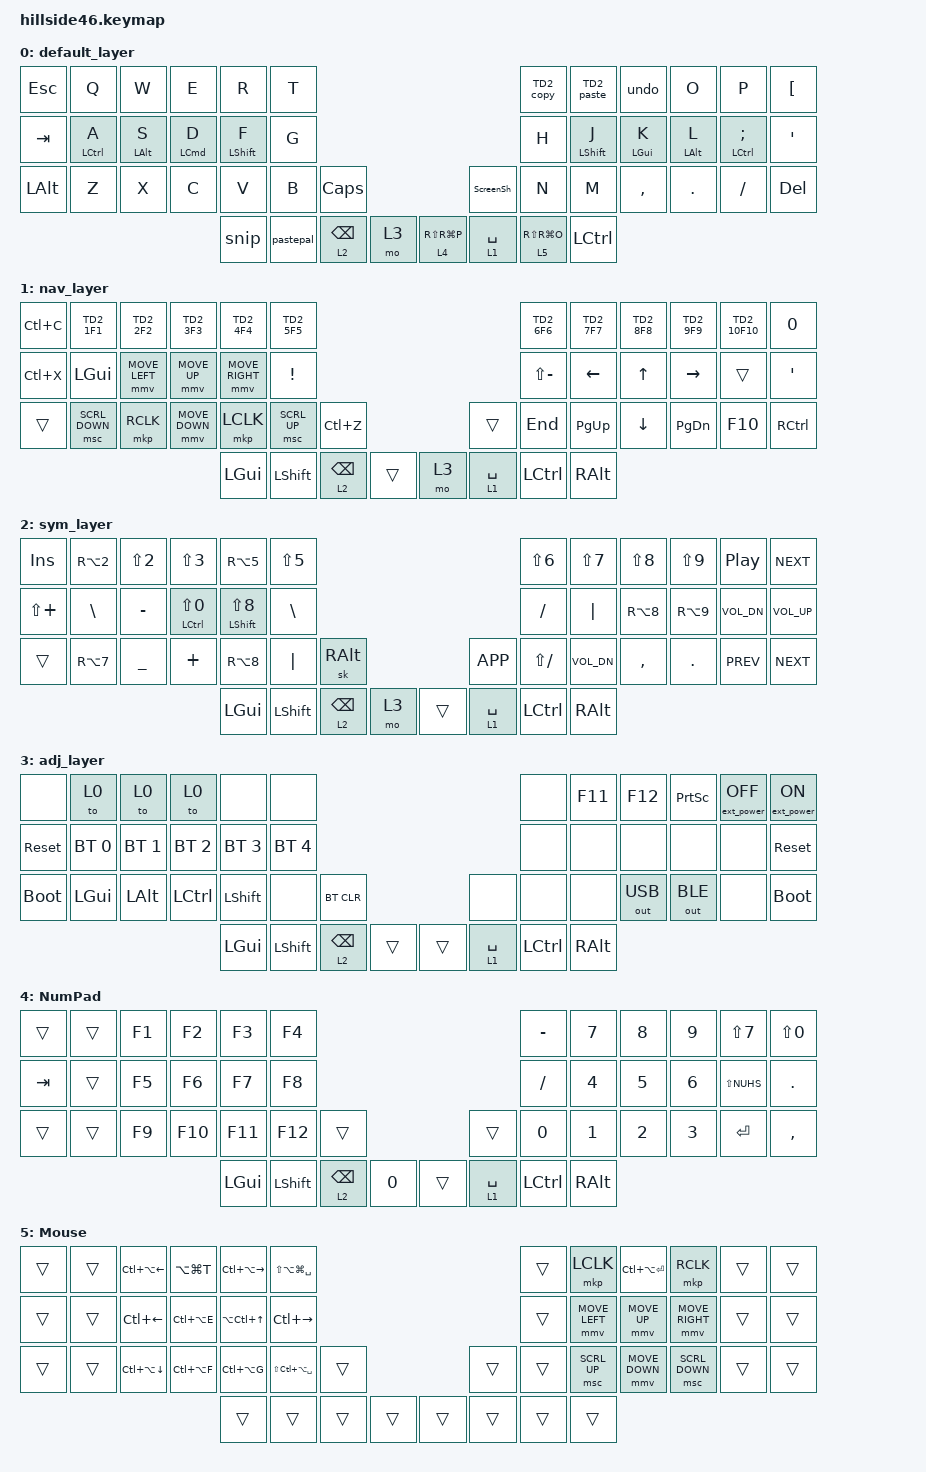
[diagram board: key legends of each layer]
/*
 * Copyright (c) 2021-2022 The ZMK Contributors
 * SPDX-License-Identifier: MIT
 */

#include "keymap_KP_swe.h"
#include <behaviors.dtsi>
#include <dt-bindings/zmk/bt.h>
#include <dt-bindings/zmk/ext_power.h>
#include <dt-bindings/zmk/keys.h>
#include <dt-bindings/zmk/outputs.h>
#include <dt-bindings/zmk/pointing.h>

#define QWERTY_L 0
#define DVORAK_L 1
#define COLEMK_L 2
#define NAV_L    3
#define SYM_L    4
#define ADJ_L    5
#define SWE_L    6
#define Undo   LC(Z)
#define Cut    LC(X)
#define Copy   LC(C)
#define Paste  LC(V)
#define Redo   LC(Y)

/ {
    combos {
        compatible = "zmk,combos";

        enter {
            bindings = <&kp ENTER>;
            key-positions = <16 19>;
        };

        backspace {
            bindings = <&kp LC(BACKSPACE)>;
            key-positions = <20 15>;
        };

        swe {
            bindings = <&tog 0>;
            key-positions = <41 42>;
        };

        LEFTSHIFT {
            bindings = <&kp BACKSPACE>;
            key-positions = <43 19>;
        };

        sapexecute {
            bindings = <&kp F8>;
            key-positions = <43 23>;
        };

        sapbak {
            bindings = <&kp F3>;
            key-positions = <43 22>;
        };

        PekEnter {
            bindings = <&kp ENTER>;
            key-positions = <19 20>;
        };

        RingBackspace {
            bindings = <&kp LG(BACKSPACE)>;
            key-positions = <20 21>;
        };

        apostrof {
            bindings = <&kp BACKSLASH>;
            key-positions = <6 7>;
        };

        skriv_aa {
            bindings = <&kp LEFT_BRACKET>;
            key-positions = <11 23>;
        };

        search {
            bindings = <&kp LA(SPACE)>;
            key-positions = <34 35>;
        };

        oo {
            bindings = <&kp SEMI>;
            key-positions = <7 19>;
        };

        aoo {
            bindings = <&kp SQT>;
            key-positions = <8 20>;
        };

        ao {
            bindings = <&kp LBKT>;
            key-positions = <9 21>;
        };

        LikaMed {
            bindings = <&kp LS(N0)>;
            key-positions = <7 8>;
        };

        minus {
            bindings = <&kp SLASH>;
            key-positions = <18 19>;
        };

        plus {
            bindings = <&kp MINUS>;
            key-positions = <33 32>;
        };

        Whisper {
            bindings = <&kp LG(NON_US_BACKSLASH)>;
            key-positions = <5 4>;
        };

        pasteCom {
            bindings = <&kp LG(V)>;
            key-positions = <16 17>;
        };

        copyCom {
            bindings = <&kp LG(V)>;
            key-positions = <16 15>;
        };

        leftClick5 {
            bindings = <&mkp LCLK>;
            key-positions = <18 19>;
            layers = <5>;
        };
    };

    behaviors {
        hm: homerow_mods {
            compatible = "zmk,behavior-hold-tap";
            label = "HOMEROW_MODS";
            #binding-cells = <2>;
            tapping-term-ms = <200>;
            quick-tap-ms = <0>;
            flavor = "tap-preferred";
            bindings = <&kp>, <&kp>;

            require-prior-idle-ms = <100>;
        };

        punkt: punkt {
            compatible = "zmk,behavior-tap-dance";
            label = "PUNKT";
            #binding-cells = <0>;
            bindings = <&kp J>, <&punktSpace>;

            tapping-term-ms = <250>;
        };

        komma: komma {
            compatible = "zmk,behavior-tap-dance";
            label = "KOMMA";
            #binding-cells = <0>;
            bindings = <&kp K>, <&kommaspace>;

            tapping-term-ms = <300>;
        };

        ao: ao {
            compatible = "zmk,behavior-tap-dance";
            label = "AO";
            #binding-cells = <0>;
            bindings = <&kp L>, <&kp LBKT>;

            tapping-term-ms = <200>;
        };

        TD2_paste: TD2_paste {
            compatible = "zmk,behavior-tap-dance";
            label = "TD2_PASTE";
            #binding-cells = <0>;
            bindings = <&kp U>, <&kp LG(V)>;

            tapping-term-ms = <300>;
        };

        TD2_copy: TD2_copy {
            compatible = "zmk,behavior-tap-dance";
            label = "TD2_COPY";
            #binding-cells = <0>;
            bindings = <&kp Y>, <&kp LG(C)>;

            tapping-term-ms = <300>;
        };

        TD2_1F1: TD2_1F1 {
            compatible = "zmk,behavior-tap-dance";
            label = "TD2_1F1";
            #binding-cells = <0>;
            bindings = <&kp NUMBER_1>, <&kp F1>;

            tapping-term-ms = <200>;
        };

        TD2_2F2: TD2_2F2 {
            compatible = "zmk,behavior-tap-dance";
            label = "TD2_2F2";
            #binding-cells = <0>;
            bindings = <&kp NUMBER_2>, <&kp F2>;

            tapping-term-ms = <200>;
        };

        TD2_3F3: TD2_3F3 {
            compatible = "zmk,behavior-tap-dance";
            label = "TD2_3F3";
            #binding-cells = <0>;
            bindings = <&kp NUMBER_3>, <&kp F3>;

            tapping-term-ms = <200>;
        };

        TD2_4F4: TD2_4F4 {
            compatible = "zmk,behavior-tap-dance";
            label = "TD2_4F4";
            #binding-cells = <0>;
            bindings = <&kp NUMBER_4>, <&kp F4>;

            tapping-term-ms = <200>;
        };

        TD2_5F5: TD2_5F5 {
            compatible = "zmk,behavior-tap-dance";
            label = "TD2_5F5";
            #binding-cells = <0>;
            bindings = <&kp NUMBER_5>, <&kp F5>;

            tapping-term-ms = <200>;
        };

        TD2_6F6: TD2_6F6 {
            compatible = "zmk,behavior-tap-dance";
            label = "TD2_6F6";
            #binding-cells = <0>;
            bindings = <&kp NUMBER_6>, <&kp F6>;

            tapping-term-ms = <200>;
        };

        TD2_7F7: TD2_7F7 {
            compatible = "zmk,behavior-tap-dance";
            label = "TD2_7F7";
            #binding-cells = <0>;
            bindings = <&kp NUMBER_7>, <&kp F7>;

            tapping-term-ms = <200>;
        };

        TD2_8F8: TD2_8F8 {
            compatible = "zmk,behavior-tap-dance";
            label = "TD2_8F8";
            #binding-cells = <0>;
            bindings = <&kp NUMBER_8>, <&kp F8>;

            tapping-term-ms = <200>;
        };

        TD2_9F9: TD2_9F9 {
            compatible = "zmk,behavior-tap-dance";
            label = "TD2_9F9";
            #binding-cells = <0>;
            bindings = <&kp NUMBER_9>, <&kp F9>;

            tapping-term-ms = <200>;
        };

        TD2_10F10: TD2_10F10 {
            compatible = "zmk,behavior-tap-dance";
            label = "TD2_10F10";
            #binding-cells = <0>;
            bindings = <&kp NUMBER_0>, <&kp F10>;

            tapping-term-ms = <200>;
        };

        undo: undo {
            compatible = "zmk,behavior-tap-dance";
            label = "UNDO";
            #binding-cells = <0>;
            bindings = <&kp I>, <&kp LG(Z)>;

            tapping-term-ms = <250>;
        };

        ScreenSh: ScreenSh {
            compatible = "zmk,behavior-tap-dance";
            label = "SCREENSH";
            #binding-cells = <0>;
            bindings = <&kp RS(RG(P))>, <&kp RS(RG(O))>;
        };
    };

    macros {
        copy: copy {
            compatible = "zmk,behavior-macro";
            #binding-cells = <0>;
            bindings = <&kp LC(C)>, <&macro_press>;

            label = "COPY";
        };

        punktSpace: punktSpace {
            compatible = "zmk,behavior-macro";
            #binding-cells = <0>;
            bindings = <&kp PERIOD &kp SPACE>;
            label = "PUNKTSPACE";
        };

        kommaspace: kommaspace {
            compatible = "zmk,behavior-macro";
            #binding-cells = <0>;
            bindings = <&kp COMMA &kp SPACE>;
            label = "KOMMASPACE";
        };

        pastepal: pastepal {
            compatible = "zmk,behavior-macro";
            #binding-cells = <0>;
            bindings = <&macro_tap>, <&kp LEFT_GUI &kp LEFT_GUI>;

            label = "PASTEPAL";
        };

        snip: snip {
            compatible = "zmk,behavior-macro";
            #binding-cells = <0>;
            bindings = <&kp LEFT_ALT &kp LEFT_ALT>, <&macro_tap>;

            label = "SNIP";
        };
    };

    keymap {
        compatible = "zmk,keymap";

        default_layer {
            /* QWERTY
 * -------------------------------------------------------------------------------------------------------------------------------------
 * | `     |   Q   |   W   |   E   |   R   |   T   |-----------------------------------|   Y   |   U   |   I   |   O   |   P   | BKSPC |
 * | TAB   |   A   |   S   |   D   |   F   |   G   |-----------------------------------|   H   |   J   |   K   |   L   |   ;   | ENTER |
 * | CTRL  |   Z   |   X   |   C   |   V   |   B   |  ESC  |-------------------|  CAPS |   N   |   M   |   ,   |   .   |   /   |   '   |
 *                                 |  GUI  |  ALT  |SK SHFT|  Nav  |---|  Sym  | SPACE |  ALT  |  GUI  |
 */

            bindings = <
&kp ESCAPE    &kp Q               &kp W           &kp E               &kp R             &kp T                                                              &TD2_copy        &TD2_paste        &undo           &kp O       &kp P                  &kp LBKT
&kp TAB       &hm LEFT_CONTROL A  &hm LEFT_ALT S  &hm LEFT_COMMAND D  &hm LEFT_SHIFT F  &kp G                                                              &kp H            &hm LEFT_SHIFT J  &hm LEFT_GUI K  &hm LALT L  &hm LEFT_CONTROL SEMI  &kp SQT
&kp LEFT_ALT  &kp Z               &kp X           &kp C               &kp V             &kp B      &kp CAPSLOCK                               &ScreenSh    &kp N            &kp M             &kp COMMA       &kp PERIOD  &kp SLASH              &kp DELETE
                                                                      &snip             &pastepal  &lt 2 BACKSPACE  &mo 3    &lt 4 RS(RG(P))  &lt 1 SPACE  &lt 5 RS(RG(O))  &kp LEFT_CONTROL
            >;
        };

        /* 	default_layer {
            /* QWERTY
 * -------------------------------------------------------------------------------------------------------------------------------------
 * | `     |   Q   |   W   |   E   |   R   |   T   |-----------------------------------|   Y   |   U   |   I   |   O   |   P   | BKSPC |
 * | TAB   |   A   |   S   |   D   |   F   |   G   |-----------------------------------|   H   |   J   |   K   |   L   |   ;   | ENTER |
 * | CTRL  |   Z   |   X   |   C   |   V   |   B   |  ESC  |-------------------|  CAPS |   N   |   M   |   ,   |   .   |   /   |   '   |
 *                                 |  GUI  |  ALT  |SK SHFT|  Nav  |---|  Sym  | SPACE |  ALT  |  GUI  |
 *
*
            bindings = <
&kp ESCAPE  &kp Q  &kp W  &kp E  &kp R     &kp T                                                        &kp Y     &kp U      &kp I      &kp O    &kp P      &kp BACKSPACE
&kp TAB     &kp A  &kp S  &kp D  &kp F     &kp G                                                        &kp H     &kp J      &kp K      &kp L    &kp SEMI   &kp ENTER
&kp LCTRL   &kp Z  &kp X  &kp C  &kp V     &kp B      &caps_word                       &kp PRINTSCREEN  &kp N     &kp M      &kp COMMA  &kp DOT  &kp SLASH  &kp DELETE
                                 &kp LGUI  &kp LSHFT  &lt 4 BACKSPACE  &mo 5    &mo 6  &lt 3 SPACE      &kp LALT  &kp LCTRL
            >;

        }; */

        nav_layer {
            /* NAV   
 * -------------------------------------------------------------------------------------------------------------------------------------
 * | Copy  |   1   |   2   |   3   |   4   |   5   |-----------------------------------|   6   |   7   |   8   |   9   |   0   | BSPC  |
 * | Cut   |  GUI  |  Alt  | Ctrl  | Shift | Paste |-----------------------------------| PG UP |  Left |  Up   |  Down | Right | PG DN |
 * | Ctrl  |  F1   |  F2   |  F3   |  F4   |  F5   |  UnDo |-------------------| ReDo  |  F6   |  F7   |  F8   |  F9   |  F10  | Ctrl  |
 *                                 |       |       |       |       |---| ADJ_L |       |       |       |
 */

            bindings = <
&kp Copy  &TD2_1F1        &TD2_2F2        &TD2_3F3        &TD2_4F4         &TD2_5F5                                                     &TD2_6F6          &TD2_7F7       &TD2_8F8  &TD2_9F9         &TD2_10F10  &kp N0
&kp Cut   &kp LGUI        &mmv MOVE_LEFT  &mmv MOVE_UP    &mmv MOVE_RIGHT  &kp EXCL                                                     &kp LS(MINUS)     &kp LEFT       &kp UP    &kp RIGHT_ARROW  &trans      &kp SQT
&trans    &msc SCRL_DOWN  &mkp RCLK       &mmv MOVE_DOWN  &mkp LCLK        &msc SCRL_UP  &kp Undo                          &trans       &kp END           &kp PAGE_UP    &kp DOWN  &kp PG_DN        &kp F10     &kp RCTRL
                                                          &kp LGUI         &kp LSHFT     &lt 2 BACKSPACE  &trans    &mo 3  &lt 1 SPACE  &kp LEFT_CONTROL  &kp RIGHT_ALT
            >;
        };

        sym_layer {
            /* SYM
 * -------------------------------------------------------------------------------------------------------------------------------------
 * | INS   |   !   |   @   |   #   |   $   |   %   |-----------------------------------|   ^   |   &   |   *   |   (   |   )   | BSPC  |
 * |       |   \   |   -   |   =   |   [   |   ]   |-----------------------------------| HOME  | Shift | Ctrl  | Alt   | Gui   | END   |
 * | Ctrl  |   |   |   _   |   +   |   {   |   }   |SkAltGr|-------------------| MENU  | Mute  | Vol-  | Vol+  | Play  |       | Ctrl  |
 *                                 |       |       |       |  ADJ_L |---|      |       |       |       |
 */

            bindings = <
&kp INS       &kp RA(NUMBER_2)  &kp LS(NUMBER_2)  &kp LS(NUMBER_3)        &kp RA(N5)         &kp LS(N5)                                                    &kp LS(NUMBER_6)  &kp LS(N7)     &kp LS(N8)  &kp LS(N9)  &kp C_PLAY_PAUSE  &kp C_NEXT
&kp LS(PLUS)  &kp BSLH          &kp MINUS         &hm LCTRL LS(NUMBER_0)  &hm LSHIFT LS(N8)  &kp BACKSLASH                                                 &kp SLASH         &kp PIPE       &kp RA(N8)  &kp RA(N9)  &kp C_VOL_DN      &kp C_VOLUME_UP
&trans        &kp RA(N7)        &kp UNDER         &kp PLUS                &kp RA(N8)         &kp PIPE       &sk RALT                          &kp K_APP    &kp LS(SLASH)     &kp C_VOL_DN   &kp COMMA   &kp PERIOD  &kp C_PREV        &kp C_NEXT
                                                                          &kp LGUI           &kp LSHFT      &lt 2 BACKSPACE  &mo 3    &trans  &lt 1 SPACE  &kp LEFT_CONTROL  &kp RIGHT_ALT
            >;
        };

        adj_layer {
            /* ADJUST
 * -------------------------------------------------------------------------------------------------------------------------------------
 * |       | QWERTY| DVORAK| COLEMK|       |       |-----------------------------------|       |  F11  |  F12  |Prt Scr|EP_OFF | EP_ON |
 * | RESET | BT 0  | BT 1  | BT 2  | BT 3  | BT 4  |-----------------------------------|       |       |       |       |       | RESET |
 * |       | LGUI  | LALT  | LCTRL | LSHIFT|       |BT CLR |-------------------|       |       |       |OUT_USB|OUT_BLE|       | BOOTL |
 *                                 |       |       |       |       |---|       |       |       |       |
 */

            bindings = <
&none        &to 0         &to 0         &to 0         &none         &none                                                         &none             &kp F11        &kp F12       &kp PRINTSCREEN  &ext_power EP_OFF  &ext_power EP_ON
&sys_reset   &bt BT_SEL 0  &bt BT_SEL 1  &bt BT_SEL 2  &bt BT_SEL 3  &bt BT_SEL 4                                                  &none             &none          &none         &none            &none              &sys_reset
&bootloader  &kp LGUI      &kp LALT      &kp LCTRL     &kp LSHIFT    &none         &bt BT_CLR                         &none        &none             &none          &out OUT_USB  &out OUT_BLE     &none              &bootloader
                                                       &kp LGUI      &kp LSHFT     &lt 2 BACKSPACE  &trans    &trans  &lt 1 SPACE  &kp LEFT_CONTROL  &kp RIGHT_ALT
            >;
        };

        NumPad {
            bindings = <
&trans   &trans  &kp F1  &kp F2   &kp F3    &kp F4                                                     &kp MINUS         &kp N7         &kp N8  &kp N9  &kp LS(N7)    &kp LS(N0)
&kp TAB  &trans  &kp F5  &kp F6   &kp F7    &kp F8                                                     &kp SLASH         &kp N4         &kp N5  &kp N6  &kp LS(NUHS)  &kp PERIOD
&trans   &trans  &kp F9  &kp F10  &kp F11   &kp F12    &trans                             &trans       &kp N0            &kp N1         &kp N2  &kp N3  &kp RET       &kp COMMA
                                  &kp LGUI  &kp LSHFT  &lt 2 BACKSPACE  &kp N0    &trans  &lt 1 SPACE  &kp LEFT_CONTROL  &kp RIGHT_ALT
            >;
        };

        Mouse {
            bindings = <
&trans  &trans  &kp LC(LA(LEFT))        &kp LA(LG(T))  &kp LC(LA(RIGHT_ARROW))  &kp LS(LA(LG(SPACE)))                                    &trans  &mkp LCLK       &kp LC(LA(ENTER))  &mkp RCLK        &trans  &trans
&trans  &trans  &kp LC(LEFT_ARROW)      &kp LC(LA(E))  &kp LA(LC(UP_ARROW))     &kp LC(RIGHT_ARROW)                                      &trans  &mmv MOVE_LEFT  &mmv MOVE_UP       &mmv MOVE_RIGHT  &trans  &trans
&trans  &trans  &kp LC(LA(DOWN_ARROW))  &kp LC(LA(F))  &kp LC(LA(G))            &kp LS(LC(LA(SPACE)))  &trans                    &trans  &trans  &msc SCRL_UP    &mmv MOVE_DOWN     &msc SCRL_DOWN   &trans  &trans
                                                       &trans                   &trans                 &trans  &trans    &trans  &trans  &trans  &trans
            >;
        };
    };
};
